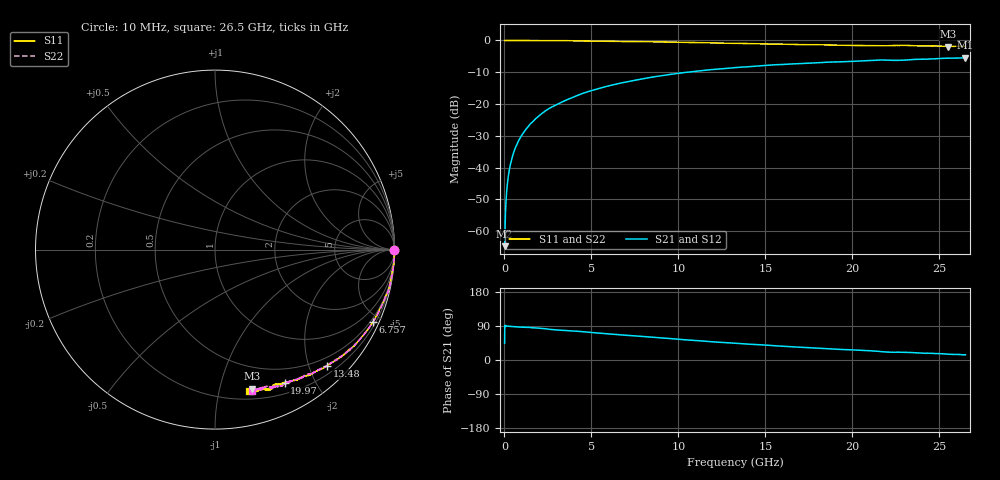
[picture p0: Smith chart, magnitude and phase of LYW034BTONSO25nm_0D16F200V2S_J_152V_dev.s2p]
!Keysight Technologies,N5222B,MY61253708,A.15.00.15
!Date: Wednesday, June 19, 2024 10:11:19
!Correction: S11(C  2-Port  )
!S21(C  2-Port  )
!S12(C  2-Port  )
!S22(C  2-Port  )
!S2P File: Measurements: S11, S21, S12, S22:
# Hz S  RI  R 50
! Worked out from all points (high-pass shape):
!   2651 points, 10 MHz to 26.5 GHz, reference 50 ohm
!   highest |S21| = -5.42 dB at 26.5 GHz (marker M1); lowest = -64.7 dB at 10 MHz (marker M2)
!   |S21| within 3 dB of the highest: 13.57 GHz to end of sweep
!   lowest |S11| = -1.9 dB at 25.5 GHz (marker M3), VSWR 9.15, Z = 14.4 - j63 ohm
!   |S11| at or under -10 dB: nowhere
!   |S22| runs from -1.8 to 0.0 dB; largest |S21 - S12| = 0.0058
!   S11 on the Smith chart (normalised r, x): 10 MHz: open; 6.757 GHz: 0.36, -4.56; 13.48 GHz: 0.34, -2.31; 19.97 GHz: 0.33, -1.60; 26.5 GHz: 0.27, -1.23
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1e7  0.9986 -0.00328  0.000415 0.000405  4.64e-05 4.32e-05  0.9983 -0.0019
7.997358e7  1 -0.00571  3.85e-05 0.00262  -1.49e-05 0.00262  0.9994 -0.00517
1.499472e8  1 -0.0107  4.42e-05 0.0049  6.11e-05 0.0049  0.9996 -0.00995
1.799358e8  1 -0.0119  7.22e-05 0.00589  8.04e-05 0.00592  0.9997 -0.0112
2.199208e8  1 -0.0148  0.000109 0.00719  0.000105 0.00721  0.9994 -0.0139
3.098868e8  0.9996 -0.0207  0.000181 0.0101  0.000208 0.0102  0.9995 -0.0196
4.298415e8  0.9994 -0.0286  0.000405 0.014  0.000387 0.0141  0.9995 -0.0276
5.797849e8  0.9986 -0.0383  0.000639 0.0189  0.000685 0.019  0.9988 -0.0369
7.59717e8  0.9984 -0.05  0.00124 0.0247  0.00121 0.0248  0.9985 -0.049
1.389479e9  0.9919 -0.094  0.0031 0.0449  0.00313 0.045  0.9937 -0.0887
2.259151e9  0.9837 -0.146  0.00879 0.074  0.00894 0.0743  0.9851 -0.1452
3.128823e9  0.9728 -0.2005  0.0195 0.1002  0.0197 0.1006  0.9736 -0.198
4.428332e9  0.944 -0.278  0.0373 0.1397  0.0376 0.1403  0.9463 -0.2737
6.757453e9  0.8803 -0.4026  0.0873 0.1969  0.0883 0.1973  0.8829 -0.4001
8.846664e9  0.8072 -0.4993  0.1418 0.2349  0.1429 0.2351  0.8107 -0.4952
1.3255e10  0.6329 -0.6407  0.2677 0.2605  0.2694 0.26  0.6401 -0.6367
1.348491e10  0.6234 -0.6486  0.2745 0.2597  0.275 0.2593  0.6303 -0.6414
1.767333e10  0.462 -0.7218  0.374 0.2346  0.3767 0.2327  0.4766 -0.7177
1.997246e10  0.3877 -0.7409  0.4187 0.2109  0.4209 0.2083  0.4053 -0.738
2.209166e10  0.3265 -0.7564  0.4574 0.1739  0.4586 0.1708  0.325 -0.762
2.550038e10  0.2072 -0.7757  0.5074 0.1381  0.5083 0.1374  0.2321 -0.7783
2.65e10  0.1874 -0.7894  0.5208 0.1267  0.5199 0.1229  0.2057 -0.7881
